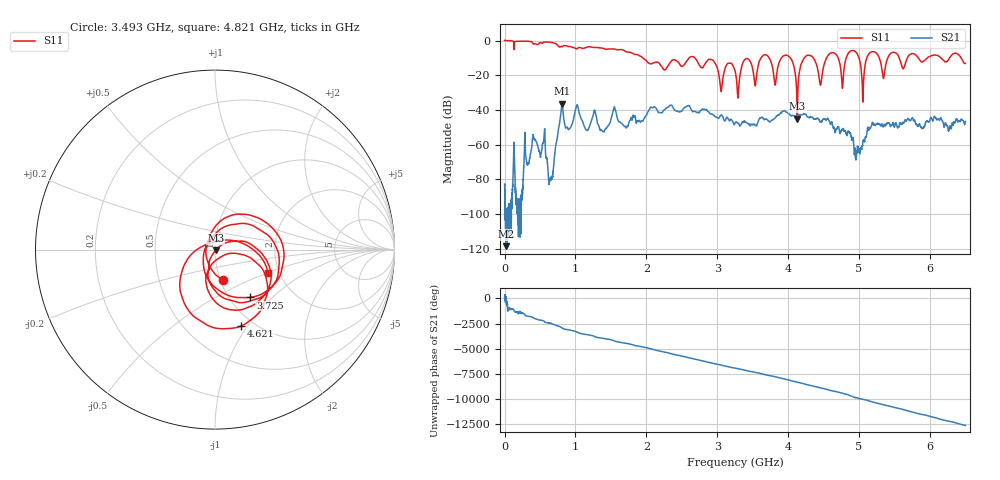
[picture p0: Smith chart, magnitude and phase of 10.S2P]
!Keysight Technologies,E5063A,MY54503115,A.05.08
!Date: Wed Dec 06 19:15:24 2023
!Data & Calibration Information:
!Freq	S11:NONE(--)	S21:NONE(--)	S12:NONE(--)	S22:NONE(--)
# Hz S dB R 50
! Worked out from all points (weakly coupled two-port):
!   10001 points, 100 kHz to 6.5 GHz, reference 50 ohm
!   highest |S21| = -36.42 dB at 810.6 MHz (marker M1); lowest = -118.5 dB at 20.25 MHz (marker M2)
!   lowest |S11| = -45.1 dB at 4.128 GHz (marker M3), VSWR 1.01, Z = 50.4 - j0.395 ohm
!   |S11| at or under -10 dB: 1.947 GHz to 2.602 GHz (655.6 MHz wide, 28.8 % of centre); 2.684 GHz to 3.617 GHz (933.8 MHz wide, 29.6 % of centre); 4.03 GHz to 4.229 GHz (198.8 MHz wide, 4.81 % of centre) (the widest 3 of 12)
!   S12 and S22 are empty: the file has one direction only
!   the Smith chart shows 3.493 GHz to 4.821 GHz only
!   S11 on the Smith chart (normalised r, x): 3.493 GHz: 1.03, -0.36; 3.725 GHz: 1.24, -0.74; 4.621 GHz: 0.87, -0.93; 4.821 GHz: 1.75, -0.50
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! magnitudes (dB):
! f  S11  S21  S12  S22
! 100 kHz  0.0  -83.6  -  -
! 20.25 MHz  0.0  -118.5  -  -
! 233.4 MHz  -0.4  -91.3  -  -
! 420.6 MHz  -2.0  -56.9  -  -
! 650.7 MHz  -1.0  -78.7  -  -
! 810.6 MHz  -3.6  -36.4  -  -
! 1.084 GHz  -4.3  -45.4  -  -
! 2.167 GHz  -12.6  -41.4  -  -
! 3.25 GHz  -17.3  -47.6  -  -
! 3.493 GHz  -15.2  -48.6  -  -
! 3.725 GHz  -9.6  -46.4  -  -
! 3.816 GHz  -25.7  -44.7  -  -
! 4.016 GHz  -9.3  -42.4  -  -
! 4.128 GHz  -45.1  -43.1  -  -
! 4.334 GHz  -9.1  -44.3  -  -
! 4.454 GHz  -25.7  -46.9  -  -
! 4.621 GHz  -6.9  -47.7  -  -
! 4.821 GHz  -9.8  -53.9  -  -
! 4.979 GHz  -8.0  -61.3  -  -
! 5.053 GHz  -35.3  -58.8  -  -
! 5.417 GHz  -9.0  -47.3  -  -
! 6.5 GHz  -13.2  -46.6  -  -
